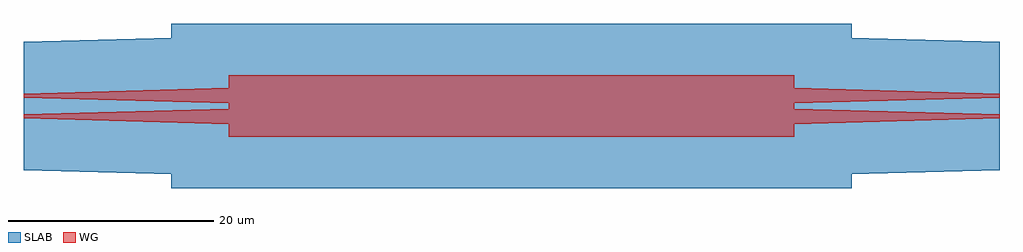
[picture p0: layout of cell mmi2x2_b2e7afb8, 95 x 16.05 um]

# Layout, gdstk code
import gdstk
lib = gdstk.Library(unit=1e-6, precision=1e-09)
def R(c, l, rs):  # rectangles x0, y0, x1, y1
    for r in rs: c.add(gdstk.rectangle(r[:2], r[2:], *l))
def P(c, l, *ps):  # polygons
    for p in ps: c.add(gdstk.Polygon(p, *l))
WG = (3, 0)
SLAB = (5, 0)

mmi2x2_b2e7afb8 = lib.new_cell('mmi2x2_b2e7afb8')
R(mmi2x2_b2e7afb8, WG, [(0,-3,55,3)])
P(mmi2x2_b2e7afb8, WG, [(-20,-0.815),(0,-0.265),(0,-1.765),(-20,-1.215)],
  [(-20,1.215),(0,1.765),(0,0.265),(-20,0.815)],
  [(75,0.815),(55,0.265),(55,1.765),(75,1.215)],
  [(75,-1.215),(55,-1.765),(55,-0.265),(75,-0.815)])
R(mmi2x2_b2e7afb8, SLAB, [(-5.6,-8.025,60.6,8.025)])
P(mmi2x2_b2e7afb8, SLAB, [(-20,4.21),(0,4.76),(0,-6.79),(-20,-6.24)],
  [(-20,6.24),(0,6.79),(0,-4.76),(-20,-4.21)],
  [(75,-4.21),(55,-4.76),(55,6.79),(75,6.24)],
  [(75,-6.24),(55,-6.79),(55,4.76),(75,4.21)])

lib.write_gds('mmi2x2_b2e7afb8.gds')
